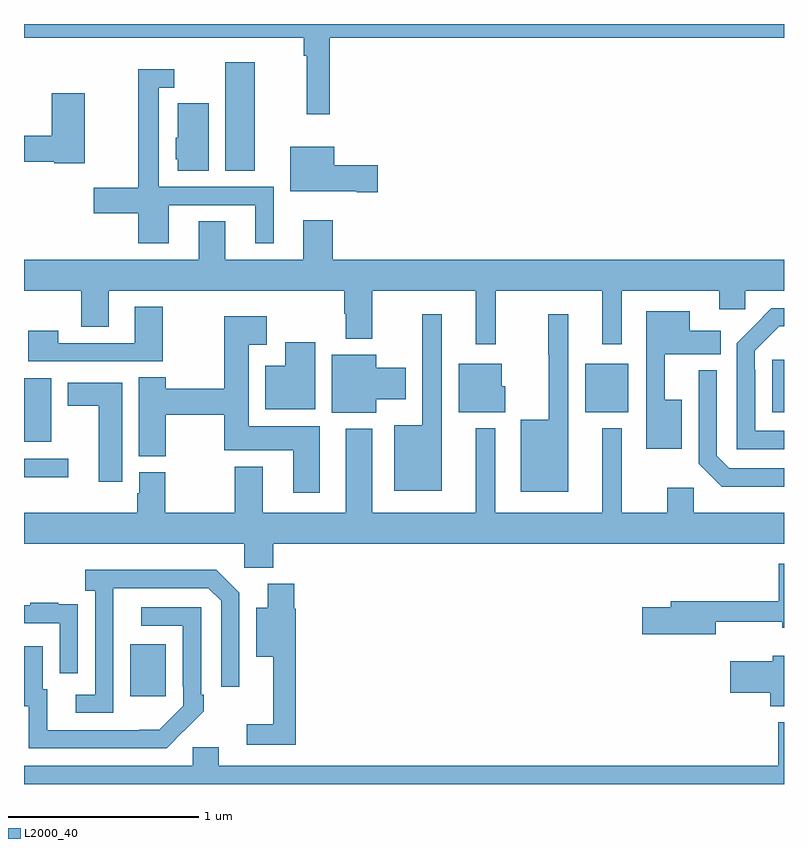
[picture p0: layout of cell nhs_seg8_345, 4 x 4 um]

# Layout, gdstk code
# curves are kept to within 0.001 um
import gdstk
lib = gdstk.Library(unit=1e-6, precision=1e-09)
def R(c, l, rs):  # rectangles x0, y0, x1, y1
    for r in rs: c.add(gdstk.rectangle(r[:2], r[2:], *l))
def P(c, l, *ps):  # polygons
    for p in ps: c.add(gdstk.Polygon(p, *l))
L2000_40 = (2000, 40)

nhs_seg8_345 = lib.new_cell('nhs_seg8_345')
R(nhs_seg8_345, L2000_40, [(133.559,1118.361,133.747,1118.635), (133,1119.515,133.234,1119.612), (133,1119.701,133.144,1120.036), (135.953,1119.857,136.18,1120.111), (136.937,1119.857,137,1120.132), (134.06,1121.128,134.215,1121.698)])
P(nhs_seg8_345, L2000_40, [(134.609,1121.828),(137,1121.828),(137,1121.9),(133,1121.9),(133,1121.828),(134.473,1121.828),(134.473,1121.732),(134.488,1121.732),(134.488,1121.424),(134.609,1121.424)],
  [(133.762,1120.947),(134.216,1120.947),(134.216,1120.746),(134.314,1120.746),(134.314,1121.043),(133.71,1121.043),(133.71,1121.565),(133.792,1121.565),(133.792,1121.662),(133.602,1121.662),(133.602,1121.039),(133.368,1121.039),(133.368,1120.904),(133.601,1120.904),(133.601,1120.746),(133.762,1120.746)],
  [(133.32,1121.536),(133.147,1121.536),(133.147,1121.312),(133,1121.312),(133,1121.176),(133.158,1121.176),(133.158,1121.168),(133.32,1121.168)],
  [(133.972,1121.482),(133.808,1121.482),(133.808,1121.301),(133.799,1121.301),(133.799,1121.187),(133.808,1121.187),(133.808,1121.128),(133.972,1121.128)],
  [(134.863,1121.156),(134.632,1121.156),(134.632,1121.254),(134.402,1121.254),(134.402,1121.021),(134.75,1121.021),(134.75,1121.014),(134.863,1121.014)],
  [(135.484,1120.496),(136.043,1120.496),(136.043,1120.215),(136.147,1120.215),(136.147,1120.496),(136.658,1120.496),(136.658,1120.398),(136.797,1120.398),(136.797,1120.496),(137,1120.496),(137,1120.66),(134.624,1120.66),(134.624,1120.867),(134.471,1120.867),(134.471,1120.66),(134.059,1120.66),(134.059,1120.862),(133.919,1120.862),(133.919,1120.66),(133,1120.66),(133,1120.496),(133.3,1120.496),(133.3,1120.306),(133.447,1120.306),(133.447,1120.496),(134.686,1120.496),(134.686,1120.376),(134.693,1120.376),(134.693,1120.244),(134.833,1120.244),(134.833,1120.496),(135.377,1120.496),(135.377,1120.215),(135.484,1120.215)],
  [(133.731,1120.411),(133.583,1120.411),(133.583,1120.221),(133.179,1120.221),(133.179,1120.285),(133.023,1120.285),(133.023,1120.125),(133.731,1120.125)],
  [(137,1119.759),(136.848,1119.759),(136.848,1120.079),(136.845,1120.079),(136.845,1120.179),(136.974,1120.308),(137,1120.308),(137,1120.404),(136.934,1120.404),(136.843,1120.313),(136.844,1120.312),(136.752,1120.221),(136.752,1119.663),(137,1119.663)],
  [(136.462,1119.922),(136.373,1119.922),(136.373,1120.163),(136.667,1120.163),(136.667,1120.285),(136.504,1120.285),(136.504,1120.387),(136.275,1120.387),(136.275,1119.665),(136.462,1119.665)],
  [(135.199,1120.372),(135.095,1120.372),(135.095,1119.787),(134.948,1119.787),(134.948,1119.443),(135.199,1119.443)],
  [(135.865,1120.372),(135.759,1120.372),(135.759,1120.159),(135.761,1120.159),(135.761,1119.817),(135.614,1119.817),(135.614,1119.437),(135.865,1119.437)],
  [(134.557,1119.784),(134.182,1119.784),(134.182,1120.211),(134.278,1120.211),(134.278,1120.363),(134.053,1120.363),(134.053,1119.98),(133.746,1119.98),(133.746,1120.04),(133.604,1120.04),(133.604,1119.625),(133.746,1119.625),(133.746,1119.844),(134.053,1119.844),(134.053,1119.656),(134.417,1119.656),(134.417,1119.432),(134.557,1119.432)],
  [(134.533,1120.225),(134.375,1120.225),(134.375,1120.102),(134.27,1120.102),(134.27,1119.872),(134.533,1119.872)],
  [(134.854,1119.926),(135.01,1119.926),(135.01,1120.092),(134.854,1120.092),(134.854,1120.159),(134.621,1120.159),(134.621,1119.854),(134.854,1119.854)],
  [(135.532,1119.993),(135.514,1119.993),(135.514,1120.111),(135.287,1120.111),(135.287,1119.857),(135.532,1119.857)],
  [(137,1119.561),(136.713,1119.561),(136.647,1119.627),(136.647,1120.078),(136.551,1120.078),(136.551,1119.585),(136.672,1119.464),(137,1119.464)],
  [(133.516,1120.012),(133.229,1120.012),(133.229,1119.89),(133.394,1119.89),(133.394,1119.492),(133.516,1119.492)],
  [(134.312,1119.164),(137,1119.164),(137,1119.328),(136.524,1119.328),(136.524,1119.46),(136.385,1119.46),(136.385,1119.328),(136.147,1119.328),(136.147,1119.772),(136.043,1119.772),(136.043,1119.328),(135.481,1119.328),(135.481,1119.772),(135.377,1119.772),(135.377,1119.328),(134.833,1119.328),(134.833,1119.769),(134.693,1119.769),(134.693,1119.328),(134.257,1119.328),(134.257,1119.571),(134.11,1119.571),(134.11,1119.328),(133.743,1119.328),(133.743,1119.54),(133.607,1119.54),(133.607,1119.429),(133.595,1119.429),(133.595,1119.328),(133,1119.328),(133,1119.164),(134.16,1119.164),(134.16,1119.038),(134.312,1119.038)],
  [(136.642,1118.753),(136.991,1118.753),(136.991,1118.723),(137,1118.723),(137,1119.058),(136.972,1119.058),(136.972,1118.863),(136.403,1118.863),(136.403,1118.829),(136.254,1118.829),(136.254,1118.687),(136.642,1118.687)],
  [(133.47,1118.731),(133.471,1118.931),(133.971,1118.931),(134.037,1118.865),(134.037,1118.412),(134.133,1118.412),(134.133,1118.907),(134.012,1119.028),(133.323,1119.028),(133.323,1118.918),(133.374,1118.918),(133.374,1118.37),(133.272,1118.37),(133.272,1118.274),(133.47,1118.274)],
  [(134.429,1118.823),(134.423,1118.823),(134.423,1118.953),(134.282,1118.953),(134.282,1118.827),(134.222,1118.827),(134.222,1118.57),(134.312,1118.57),(134.312,1118.215),(134.172,1118.215),(134.172,1118.106),(134.429,1118.106)],
  [(133.284,1118.738),(133.283,1118.738),(133.283,1118.847),(133.181,1118.847),(133.181,1118.854),(133.033,1118.854),(133.033,1118.841),(133,1118.841),(133,1118.745),(133.188,1118.745),(133.188,1118.484),(133.284,1118.484)],
  [(133.841,1118.179),(133.842,1118.178),(133.947,1118.283),(133.947,1118.371),(133.932,1118.371),(133.932,1118.829),(133.617,1118.829),(133.617,1118.733),(133.836,1118.733),(133.836,1118.413),(133.839,1118.413),(133.839,1118.313),(133.711,1118.185),(133.123,1118.184),(133.123,1118.4),(133.099,1118.4),(133.099,1118.626),(133,1118.626),(133.001,1118.31),(133.026,1118.31),(133.026,1118.088),(133.75,1118.088)],
  [(137,1118.575),(136.94,1118.575),(136.94,1118.545),(136.716,1118.545),(136.716,1118.38),(136.928,1118.38),(136.928,1118.309),(137,1118.309)],
  [(137,1118.224),(136.969,1118.224),(136.969,1117.996),(134.026,1117.996),(134.026,1118.094),(133.887,1118.094),(133.887,1117.996),(133,1117.996),(133,1117.9),(137,1117.9)])

lib.write_gds('nhs_seg8_345.gds')
